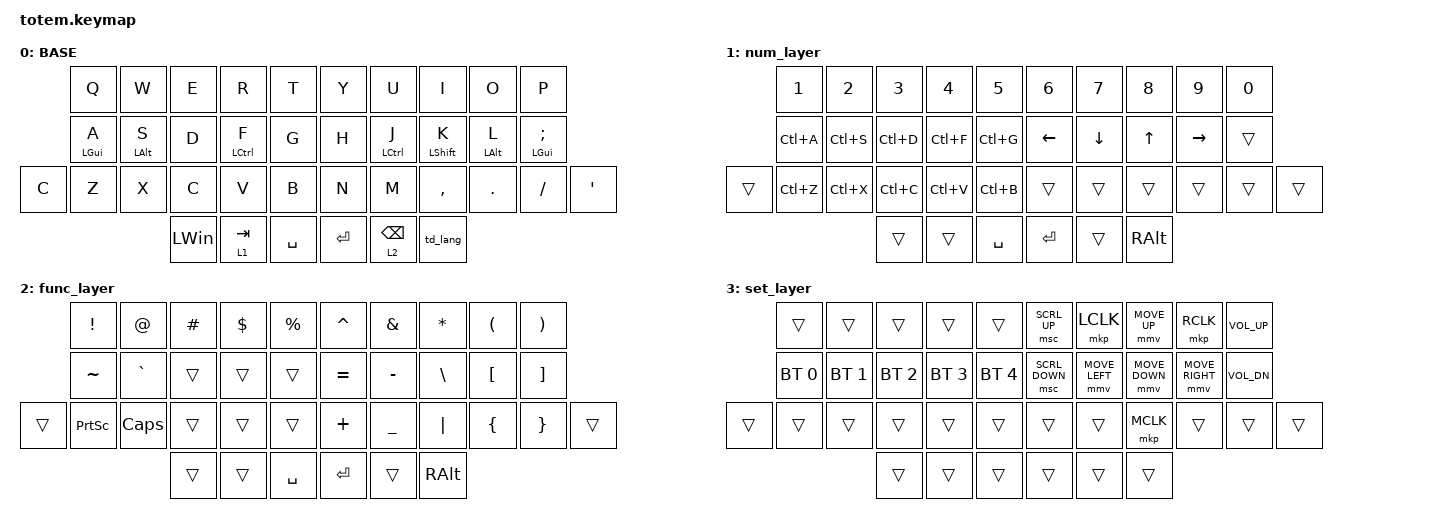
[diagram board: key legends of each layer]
//
//                                                        ▀▀▀▀▀     ▀▀▀▀▀          ▀▀█▀▀
//                                                        ▄▀▀▀▄  ▄  ▄▀▀▀▄  ▄  ▄▀▀▀▄  █  ▄▀▀▀▄
//                                                        █   █  █  █   █  █  █   █  █  █   █
//                                                         ▀▀▀   █   ▀▀▀   █   ▀▀▀   ▀   ▀▀▀
//                                                               █      ▄▄▄█▄▄▄    █   █  
//                                                               ▀      █  █  █     █▄█
//                                                             ▀▀▀▀▀    █  █  █      ▀
//                                                                      ▀  ▀  ▀
//
// ▄▄▄▄▄▄▄▄▄▄▄▄▄▄▄▄▄▄▄▄▄▄▄▄▄▄▄▄▄▄▄▄▄▄▄▄▄▄▄▄▄▄▄▄▄▄▄▄▄▄▄▄▄▄▄▄▄▄▄▄▄▄▄▄▄▄▄▄▄▄▄▄▄▄▄▄▄▄▄▄▄▄▄▄▄▄▄▄▄▄▄▄▄▄▄▄▄▄▄▄▄▄▄▄▄▄▄▄▄▄▄▄▄▄▄▄▄▄▄▄▄▄▄▄▄▄▄▄▄▄▄▄▄▄▄▄▄▄▄▄▄▄▄▄▄▄▄▄▄

#include <behaviors.dtsi>
#include <dt-bindings/zmk/bt.h>
#include <dt-bindings/zmk/keys.h>
#include <dt-bindings/zmk/pointing.h>

#define BASE 0
#define NAV  1
#define SYM  2
#define ADJ  3
#define TVP1 4
#define TVP2 5

&mt {
    quick-tap-ms = <100>;
    global-quick-tap;
    flavor = "tap-preferred";
    tapping-term-ms = <170>;
};

&lt {
    tapping-term-ms = <120>;
    quick-tap-ms = <159>;
    require-prior-idle-ms = <100>;
    flavor = "hold-preferred";
};

/ {
    combos {
        compatible = "zmk,combos";

        combo_esc {
            timeout-ms = <50>;
            key-positions = <0 1>;
            bindings = <&kp ESC>;
        };

        combo_tvp {
            timeout-ms = <100>;
            key-positions = <11 12 13>;
            bindings = <&tog 0>;
        };

        combo_f1 {
            bindings = <&kp F1>;
            key-positions = <0 10>;
        };

        combo_f2 {
            bindings = <&kp F2>;
            key-positions = <11 1>;
        };

        combo_f3 {
            bindings = <&kp F3>;
            key-positions = <2 12>;
        };

        combo_f4 {
            bindings = <&kp F4>;
            key-positions = <13 3>;
        };

        combo_f5 {
            bindings = <&kp F5>;
            key-positions = <14 4>;
        };

        combo_f6 {
            bindings = <&kp F6>;
            key-positions = <15 5>;
        };

        combo_f7 {
            bindings = <&kp F7>;
            key-positions = <16 6>;
        };

        combo_f8 {
            bindings = <&kp F8>;
            key-positions = <7 17>;
        };

        combo_f9 {
            bindings = <&kp F9>;
            key-positions = <8 18>;
        };

        combo_f10 {
            bindings = <&kp F10>;
            key-positions = <9 19>;
        };

        combo_f11 {
            bindings = <&kp F11>;
            key-positions = <0 21>;
        };

        combo_f12 {
            bindings = <&kp F12>;
            key-positions = <22 1>;
        };

        combo_left {
            bindings = <&kp LEFT>;
            key-positions = <16 17>;
        };

        combo_right {
            bindings = <&kp RIGHT>;
            key-positions = <17 18>;
        };

        combo_up {
            bindings = <&kp UP>;
            key-positions = <6 7>;
        };

        combo_down {
            bindings = <&kp DOWN>;
            key-positions = <27 28>;
        };

        combo_home {
            bindings = <&kp HOME>;
            key-positions = <15 16>;
        };

        combo_end {
            bindings = <&kp END>;
            key-positions = <18 19>;
        };

        combo_pageup {
            bindings = <&kp PAGE_UP>;
            key-positions = <7 8>;
        };

        combo_pagedown {
            bindings = <&kp PAGE_DOWN>;
            key-positions = <28 29>;
        };

        combo_del {
            bindings = <&kp DEL>;
            key-positions = <9 8>;
        };

        combo_apo {
            bindings = <&kp SQT>;
            key-positions = <30 29>;
        };

        combo_bt_clr {
            bindings = <&bt BT_CLR>;
            key-positions = <10 11 12 13>;
            layers = <3>;
        };
    };

    behaviors {
        hr: hr {
            compatible = "zmk,behavior-hold-tap";
            label = "HR";
            bindings = <&kp>, <&kp>;

            #binding-cells = <2>;
            tapping-term-ms = <150>;
            quick-tap-ms = <100>;
            require-prior-idle-ms = <150>;
            flavor = "balanced";
        };

        td_lang: td_lang {
            compatible = "zmk,behavior-tap-dance";
            label = "TD_LANG";
            #binding-cells = <0>;
            bindings = <&kp RALT>, <&kp RCTRL>;

            tapping-term-ms = <150>;
        };

        bt_ht: bt_ht {
            compatible = "zmk,behavior-hold-tap";
            label = "BT_HT";
            bindings = <&bt>, <&bt>;

            #binding-cells = <2>;
            tapping-term-ms = <2000>;
        };
    };

    keymap {
        compatible = "zmk,keymap";

        // ▄▄▄▄▄▄▄▄▄▄▄▄▄▄▄▄▄▄▄▄▄▄▄▄▄▄▄▄▄▄▄▄▄▄▄▄▄▄▄▄▄▄▄▄▄▄▄▄▄▄▄▄▄▄▄▄▄▄▄▄▄▄▄▄▄▄▄▄▄▄▄▄▄▄▄▄▄▄▄▄▄▄▄▄▄▄▄▄▄▄▄▄▄▄▄▄▄▄▄▄▄▄▄▄▄▄▄▄▄▄▄▄▄▄▄▄▄▄▄▄▄▄▄▄▄▄▄▄▄▄▄▄▄▄▄▄▄▄▄▄▄▄▄▄▄▄▄▄▄

        base_layer {
            // ┏━━━━━━━━━━━━━━━━━━━━━━━━━━━━━━━━━━━━━━━┓

            label = "BASE";

            // ┗━━━━━━━━━━━━━━━━━━━━━━━━━━━━━━━━━━━━━━━┛
            //             ┏━━━━━━━━━━━┳━━━━━━━━━━━┳━━━━━━━━━━━┳━━━━━━━━━━━┳━━━━━━━━━━━┓   ┏━━━━━━━━━━━┳━━━━━━━━━━━┳━━━━━━━━━━━┳━━━━━━━━━━━┳━━━━━━━━━━━┓
            //             ┃     Q     ┃     W     ┃     F     ┃     P     ┃     G     ┃   ┃     J     ┃     L     ┃     U     ┃     Y     ┃     ;     ┃
            //             ┣━━━━━━━━━━━╋━━━━━━━━━━━╋━━━━━━━━━━━╋━━━━━━━━━━━╋━━━━━━━━━━━┫   ┣━━━━━━━━━━━╋━━━━━━━━━━━╋━━━━━━━━━━━╋━━━━━━━━━━━╋━━━━━━━━━━━┫
            //             ┃     A     ┃     R     ┃     S     ┃     T     ┃     D     ┃   ┃     H     ┃     N     ┃     E     ┃     I     ┃     O     ┃
            // ┏━━━━━━━━━━━╋━━━━━━━━━━━╋━━━━━━━━━━━╋━━━━━━━━━━━╋━━━━━━━━━━━╋━━━━━━━━━━━┫   ┣━━━━━━━━━━━╋━━━━━━━━━━━╋━━━━━━━━━━━╋━━━━━━━━━━━╋━━━━━━━━━━━╋━━━━━━━━━━━┓
            // ┃     Q     ┃     Z     ┃     X     ┃     C     ┃     V     ┃     B     ┃   ┃     K     ┃     M     ┃     ,     ┃     .     ┃     /     ┃     \     ┃
            // ┗━━━━━━━━━━━┻━━━━━━━━━━━┻━━━━━━━━━━━╋━━━━━━━━━━━╋━━━━━━━━━━━╋━━━━━━━━━━━┫   ┣━━━━━━━━━━━╋━━━━━━━━━━━╋━━━━━━━━━━━╋━━━━━━━━━━━┻━━━━━━━━━━━┻━━━━━━━━━━━┛
            //                                     ┃    DEL    ┃    TAB    ┃    SPC    ┃   ┃   ENTER   ┃           ┃   BSPC    ┃
            //                                     ┗━━━━━━━━━━━┻━━━━━━━━━━━┻━━━━━━━━━━━┛   ┗━━━━━━━━━━━┻━━━━━━━━━━━┻━━━━━━━━━━━┛

            bindings = <
       &kp Q           &kp W           &kp E         &kp R        &kp T        &kp Y    &kp U            &kp I             &kp O           &kp P
       &hr LEFT_GUI A  &hr LEFT_ALT S  &kp D         &hr LCTRL F  &kp G        &kp H    &hr LCTRL J      &hr LEFT_SHIFT K  &hr LEFT_ALT L  &hr LEFT_GUI SEMICOLON
&kp C  &kp Z           &kp X           &kp C         &kp V        &kp B        &kp N    &kp M            &kp COMMA         &kp DOT         &kp FSLH                &kp APOS
                                       &kp LEFT_WIN  &lt 1 TAB    &kp SPACE    &kp RET  &lt 2 BACKSPACE  &td_lang
            >;
        };

        // ▄▄▄▄▄▄▄▄▄▄▄▄▄▄▄▄▄▄▄▄▄▄▄▄▄▄▄▄▄▄▄▄▄▄▄▄▄▄▄▄▄▄▄▄▄▄▄▄▄▄▄▄▄▄▄▄▄▄▄▄▄▄▄▄▄▄▄▄▄▄▄▄▄▄▄▄▄▄▄▄▄▄▄▄▄▄▄▄▄▄▄▄▄▄▄▄▄▄▄▄▄▄▄▄▄▄▄▄▄▄▄▄▄▄▄▄▄▄▄▄▄▄▄▄▄▄▄▄▄▄▄▄▄▄▄▄▄▄▄▄▄▄▄▄▄▄▄▄▄
        // ▄▄▄▄▄▄▄▄▄▄▄▄▄▄▄▄▄▄▄▄▄▄▄▄▄▄▄▄▄▄▄▄▄▄▄▄▄▄▄▄▄▄▄▄▄▄▄▄▄▄▄▄▄▄▄▄▄▄▄▄▄▄▄▄▄▄▄▄▄▄▄▄▄▄▄▄▄▄▄▄▄▄▄▄▄▄▄▄▄▄▄▄▄▄▄▄▄▄▄▄▄▄▄▄▄▄▄▄▄▄▄▄▄▄▄▄▄▄▄▄▄▄▄▄▄▄▄▄▄▄▄▄▄▄▄▄▄▄▄▄▄▄▄▄▄▄▄▄▄
        // ▄▄▄▄▄▄▄▄▄▄▄▄▄▄▄▄▄▄▄▄▄▄▄▄▄▄▄▄▄▄▄▄▄▄▄▄▄▄▄▄▄▄▄▄▄▄▄▄▄▄▄▄▄▄▄▄▄▄▄▄▄▄▄▄▄▄▄▄▄▄▄▄▄▄▄▄▄▄▄▄▄▄▄▄▄▄▄▄▄▄▄▄▄▄▄▄▄▄▄▄▄▄▄▄▄▄▄▄▄▄▄▄▄▄▄▄▄▄▄▄▄▄▄▄▄▄▄▄▄▄▄▄▄▄▄▄▄▄▄▄▄▄▄▄▄▄▄▄▄
        // ▄▄▄▄▄▄▄▄▄▄▄▄▄▄▄▄▄▄▄▄▄▄▄▄▄▄▄▄▄▄▄▄▄▄▄▄▄▄▄▄▄▄▄▄▄▄▄▄▄▄▄▄▄▄▄▄▄▄▄▄▄▄▄▄▄▄▄▄▄▄▄▄▄▄▄▄▄▄▄▄▄▄▄▄▄▄▄▄▄▄▄▄▄▄▄▄▄▄▄▄▄▄▄▄▄▄▄▄▄▄▄▄▄▄▄▄▄▄▄▄▄▄▄▄▄▄▄▄▄▄▄▄▄▄▄▄▄▄▄▄▄▄▄▄▄▄▄▄▄
        // ▄▄▄▄▄▄▄▄▄▄▄▄▄▄▄▄▄▄▄▄▄▄▄▄▄▄▄▄▄▄▄▄▄▄▄▄▄▄▄▄▄▄▄▄▄▄▄▄▄▄▄▄▄▄▄▄▄▄▄▄▄▄▄▄▄▄▄▄▄▄▄▄▄▄▄▄▄▄▄▄▄▄▄▄▄▄▄▄▄▄▄▄▄▄▄▄▄▄▄▄▄▄▄▄▄▄▄▄▄▄▄▄▄▄▄▄▄▄▄▄▄▄▄▄▄▄▄▄▄▄▄▄▄▄▄▄▄▄▄▄▄▄▄▄▄▄▄▄▄

        num_layer {
            bindings = <
        &kp N1     &kp N2     &kp N3     &kp N4     &kp N5       &kp N6     &kp N7    &kp N8    &kp N9     &kp N0
        &kp LC(A)  &kp LC(S)  &kp LC(D)  &kp LC(F)  &kp LC(G)    &kp LEFT   &kp DOWN  &kp UP    &kp RIGHT  &trans
&trans  &kp LC(Z)  &kp LC(X)  &kp LC(C)  &kp LC(V)  &kp LC(B)    &trans     &trans    &trans    &trans     &trans  &trans
                              &trans     &trans     &kp SPACE    &kp ENTER  &trans    &kp RALT
            >;
        };

        func_layer {
            bindings = <
        &kp EXCLAMATION  &kp AT        &kp HASH  &kp DOLLAR  &kp PERCENT    &kp CARET  &kp AMPERSAND   &kp ASTERISK  &kp LEFT_PARENTHESIS  &kp RIGHT_PARENTHESIS
        &kp TILDE        &kp GRAVE     &trans    &trans      &trans         &kp EQUAL  &kp MINUS       &kp BSLH      &kp LBKT              &kp RBKT
&trans  &kp PRINTSCREEN  &kp CAPSLOCK  &trans    &trans      &trans         &kp PLUS   &kp UNDERSCORE  &kp PIPE      &kp LEFT_BRACE        &kp RIGHT_BRACE        &trans
                                       &trans    &trans      &kp SPACE      &kp ENTER  &trans          &kp RALT
            >;
        };

        set_layer {
            bindings = <
        &trans        &trans        &trans        &trans        &trans          &msc SCRL_UP    &mkp LCLK       &mmv MOVE_UP    &mkp RCLK        &kp C_VOLUME_UP
        &bt BT_SEL 0  &bt BT_SEL 1  &bt BT_SEL 2  &bt BT_SEL 3  &bt BT_SEL 4    &msc SCRL_DOWN  &mmv MOVE_LEFT  &mmv MOVE_DOWN  &mmv MOVE_RIGHT  &kp C_VOL_DN
&trans  &trans        &trans        &trans        &trans        &trans          &trans          &trans          &mkp MCLK       &trans           &trans           &trans
                                    &trans        &trans        &trans          &trans          &trans          &trans
            >;
        };
    };

    conditional_layers {
        compatible = "zmk,conditional-layers";

        con_layer_1 {
            if-layers = <1 2>;
            then-layer = <3>;
        };
    };
};
